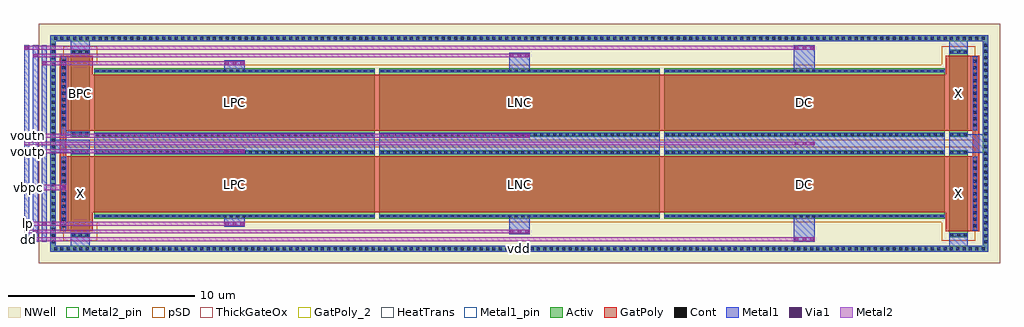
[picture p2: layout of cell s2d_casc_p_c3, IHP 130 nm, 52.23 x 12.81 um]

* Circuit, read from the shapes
.subckt s2d_casc_p_c3 dd ln lp vbpc vcmfb vdd voutn voutp
XM1 vdd vbpc vdd vdd sg13_hv_pmos w=1u l=4u m=3
XM2 vdd vbpc vbpc vdd sg13_hv_pmos w=1u l=4u
XM3 voutp vbpc lp vdd sg13_hv_pmos w=15u l=3u m=2
XM4 voutn vbpc ln vdd sg13_hv_pmos w=15u l=3u m=2
XM5 vcmfb vbpc dd vdd sg13_hv_pmos w=15u l=3u m=2
.ends

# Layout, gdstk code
from math import pi, radians
import gdstk
lib = gdstk.Library(unit=1e-6, precision=1e-09)
def R(c, l, rs):  # rectangles x0, y0, x1, y1
    for r in rs: c.add(gdstk.rectangle(r[:2], r[2:], *l))
def A(c, l, x, y, w, h, nx, ny, dx, dy):  # array of equal rectangles
    R(c, l, [(x+i*dx, y+j*dy, x+i*dx+w, y+j*dy+h) for i in range(nx) for j in range(ny)])
Activ = (1, 0)
GatPoly = (5, 0)
GatPoly_2 = (5, 2)
Cont = (6, 0)
Metal1 = (8, 0)
Metal1_pin = (8, 2)
Metal2 = (10, 0)
Metal2_pin = (10, 2)
pSD = (14, 0)
Via1 = (19, 0)
NWell = (31, 0)
ThickGateOx = (44, 0)
HeatTrans = (51, 0)

pmoshv_w1_l4 = lib.new_cell('pmosHV_w1_l4')
R(pmoshv_w1_l4, Activ, [(0,0,0.3,0.3), (0,0,4.68,1), (4.38,0,4.68,0.3)])
R(pmoshv_w1_l4, GatPoly, [(0.34,-0.18,4.34,1.18)])
R(pmoshv_w1_l4, GatPoly_2, [(0.34,-0.18,4.34,1.18)])
A(pmoshv_w1_l4, Cont, 0.07, 0.07, 0.16, 0.16, 1, 3, 0, 0.35)
A(pmoshv_w1_l4, Cont, 4.45, 0.07, 0.16, 0.16, 1, 3, 0, 0.35)
R(pmoshv_w1_l4, Metal1, [(0.07,0,0.23,1), (4.45,0,4.61,1)])
R(pmoshv_w1_l4, Metal1_pin, [(0.07,0,0.23,1), (4.45,0,4.61,1)])
R(pmoshv_w1_l4, pSD, [(-0.18,-0.4,4.86,1.4)])
R(pmoshv_w1_l4, NWell, [(-0.62,-0.62,5.3,1.62)])
R(pmoshv_w1_l4, ThickGateOx, [(-0.62,-0.62,5.3,1.62)])
R(pmoshv_w1_l4, HeatTrans, [(0.34,-0.18,4.34,1.18)])
pmoshv_w1_l4.add(gdstk.Label('pmosHV', (2.34,0.5), layer=63, texttype=0))
pmoshv_w1_l4.add(gdstk.Label('pmos', (2.34,0.5), layer=51, texttype=0))

pmoshv_w15_l3 = lib.new_cell('pmosHV_w15_l3')
R(pmoshv_w15_l3, Activ, [(0,0,0.3,0.3), (0,0,3.68,15), (3.38,0,3.68,0.3)])
R(pmoshv_w15_l3, GatPoly, [(0.34,-0.18,3.34,15.18)])
R(pmoshv_w15_l3, GatPoly_2, [(0.34,-0.18,3.34,15.18)])
A(pmoshv_w15_l3, Cont, 0.07, 0.07, 0.16, 0.16, 1, 3, 0, 0.34)
A(pmoshv_w15_l3, Cont, 3.45, 0.07, 0.16, 0.16, 1, 3, 0, 0.34)
A(pmoshv_w15_l3, Cont, 0.07, 1.095, 0.16, 0.16, 1, 3, 0, 0.34)
A(pmoshv_w15_l3, Cont, 3.45, 1.095, 0.16, 0.16, 1, 3, 0, 0.34)
A(pmoshv_w15_l3, Cont, 0.07, 2.12, 0.16, 0.16, 1, 3, 0, 0.34)
A(pmoshv_w15_l3, Cont, 3.45, 2.12, 0.16, 0.16, 1, 3, 0, 0.34)
A(pmoshv_w15_l3, Cont, 0.07, 3.83, 0.16, 0.16, 1, 3, 0, 0.34)
A(pmoshv_w15_l3, Cont, 3.45, 3.83, 0.16, 0.16, 1, 3, 0, 0.34)
A(pmoshv_w15_l3, Cont, 0.07, 4.855, 0.16, 0.16, 1, 3, 0, 0.34)
A(pmoshv_w15_l3, Cont, 3.45, 4.855, 0.16, 0.16, 1, 3, 0, 0.34)
A(pmoshv_w15_l3, Cont, 0.07, 6.565, 0.16, 0.16, 1, 3, 0, 0.34)
A(pmoshv_w15_l3, Cont, 3.45, 6.565, 0.16, 0.16, 1, 3, 0, 0.34)
A(pmoshv_w15_l3, Cont, 0.07, 7.59, 0.16, 0.16, 1, 3, 0, 0.34)
A(pmoshv_w15_l3, Cont, 3.45, 7.59, 0.16, 0.16, 1, 3, 0, 0.34)
A(pmoshv_w15_l3, Cont, 0.07, 9.3, 0.16, 0.16, 1, 3, 0, 0.34)
A(pmoshv_w15_l3, Cont, 3.45, 9.3, 0.16, 0.16, 1, 3, 0, 0.34)
A(pmoshv_w15_l3, Cont, 0.07, 10.325, 0.16, 0.16, 1, 3, 0, 0.34)
A(pmoshv_w15_l3, Cont, 3.45, 10.325, 0.16, 0.16, 1, 3, 0, 0.34)
A(pmoshv_w15_l3, Cont, 0.07, 12.035, 0.16, 0.16, 1, 3, 0, 0.34)
A(pmoshv_w15_l3, Cont, 3.45, 12.035, 0.16, 0.16, 1, 3, 0, 0.34)
A(pmoshv_w15_l3, Cont, 0.07, 13.06, 0.16, 0.16, 1, 3, 0, 0.34)
A(pmoshv_w15_l3, Cont, 3.45, 13.06, 0.16, 0.16, 1, 3, 0, 0.34)
R(pmoshv_w15_l3, Cont, [(0.07,3.145,0.23,3.305), (3.45,3.145,3.61,3.305), (0.07,3.485,0.23,3.645), (3.45,3.485,3.61,3.645), (0.07,5.88,0.23,6.04), (3.45,5.88,3.61,6.04), (0.07,6.22,0.23,6.38), (3.45,6.22,3.61,6.38), (0.07,8.615,0.23,8.775), (3.45,8.615,3.61,8.775), (0.07,8.955,0.23,9.115), (3.45,8.955,3.61,9.115), (0.07,11.35,0.23,11.51), (3.45,11.35,3.61,11.51), (0.07,11.69,0.23,11.85), (3.45,11.69,3.61,11.85), (0.07,14.085,0.23,14.245), (3.45,14.085,3.61,14.245), (0.07,14.425,0.23,14.585), (3.45,14.425,3.61,14.585), (0.07,14.77,0.23,14.93), (3.45,14.77,3.61,14.93)])
R(pmoshv_w15_l3, Metal1, [(0.07,0,0.23,15), (3.45,0,3.61,15)])
R(pmoshv_w15_l3, Metal1_pin, [(0.07,0,0.23,15), (3.45,0,3.61,15)])
R(pmoshv_w15_l3, pSD, [(-0.18,-0.4,3.86,15.4)])
R(pmoshv_w15_l3, NWell, [(-0.62,-0.62,4.3,15.62)])
R(pmoshv_w15_l3, ThickGateOx, [(-0.62,-0.62,4.3,15.62)])
R(pmoshv_w15_l3, HeatTrans, [(0.34,-0.18,3.34,15.18)])
pmoshv_w15_l3.add(gdstk.Label('pmosHV', (1.84,7.5), layer=63, texttype=0))
pmoshv_w15_l3.add(gdstk.Label('pmos', (1.84,7.5), layer=51, texttype=0))

s2d_casc_p_c3 = lib.new_cell('s2d_casc_p_c3')
R(s2d_casc_p_c3, Activ, [(1.41,0.62,51.61,0.92), (1.41,0.92,1.71,11.89), (51.31,0.92,51.61,11.89), (1.41,11.89,51.61,12.19)])
R(s2d_casc_p_c3, GatPoly, [(1.91,1.715,2.51,5.715), (50.51,1.715,51.11,5.715), (1.91,5.715,2.26,7.095), (50.76,5.715,51.11,7.095), (1.91,7.095,2.51,11.095), (50.51,7.095,51.11,11.095)])
A(s2d_casc_p_c3, Cont, 1.61, 0.69, 0.16, 0.16, 147, 2, 0.34, 11.27)
A(s2d_casc_p_c3, Cont, 1.48, 1.055, 0.16, 0.16, 1, 32, 0, 0.34)
A(s2d_casc_p_c3, Cont, 51.38, 1.055, 0.16, 0.16, 1, 32, 0, 0.34)
A(s2d_casc_p_c3, Cont, 2.05, 1.935, 0.16, 0.16, 1, 11, 0, 0.34)
A(s2d_casc_p_c3, Cont, 50.81, 1.935, 0.16, 0.16, 1, 11, 0, 0.34)
A(s2d_casc_p_c3, Cont, 2.05, 7.315, 0.16, 0.16, 1, 11, 0, 0.34)
A(s2d_casc_p_c3, Cont, 50.81, 7.315, 0.16, 0.16, 1, 11, 0, 0.34)
A(s2d_casc_p_c3, Metal1, 0, 1.14, 0.29, 10.53, 3, 1, 0.47, 0)
A(s2d_casc_p_c3, Metal1, 3.76, 5.825, 15, 1.16, 3, 1, 15.25, 0)
R(s2d_casc_p_c3, Metal1, [(1.41,0.62,51.61,0.92), (1.41,0.92,1.71,11.89), (2.51,0.92,3.51,1.605), (49.51,0.92,50.51,1.605), (51.31,0.92,51.61,11.89), (41.205,1.14,42.315,2.605), (25.955,1.55,27.065,2.605), (2,1.735,2.26,5.695), (50.76,1.735,51.02,5.695), (10.705,1.96,11.815,2.605), (2.51,5.825,3.51,6.605), (49.51,5.825,50.51,6.985), (1.71,5.915,3.51,6.605), (49.51,5.915,51.31,6.895), (2,6.825,3.51,7.045), (2,6.825,2.26,7.125), (2,7.115,2.26,11.075), (50.76,7.115,51.02,11.075), (10.705,10.205,11.815,10.85), (25.955,10.205,27.065,11.26), (41.205,10.205,42.315,11.67), (2.51,11.205,3.51,11.89), (49.51,11.205,50.51,11.89), (1.41,11.89,51.61,12.19)])
R(s2d_casc_p_c3, Metal1_pin, [(25.51,0.62,27.51,0.92)])
A(s2d_casc_p_c3, Metal2, 0, 1.185, 42.315, 0.2, 1, 3, 0, 5.12)
R(s2d_casc_p_c3, Metal2, [(0,1.185,0.145,1.385), (0,1.595,0.615,1.795), (0.47,1.595,27.065,1.795), (0,2.005,1.085,2.205), (0.94,2.005,11.815,2.205), (0,3.905,2.26,4.205), (0,5.895,11.815,6.095), (0,6.715,27.065,6.915), (0.94,10.605,11.815,10.805), (0.47,11.015,27.065,11.215)])
A(s2d_casc_p_c3, Metal2_pin, 0, 1.185, 0.5, 0.2, 1, 3, 0, 0.41)
A(s2d_casc_p_c3, Metal2_pin, 0, 5.895, 0.5, 0.2, 1, 3, 0, 0.41)
R(s2d_casc_p_c3, Metal2_pin, [(0,3.905,0.5,4.205)])
A(s2d_casc_p_c3, Via1, 41.255, 1.19, 0.19, 0.19, 3, 3, 0.41, 5.12)
A(s2d_casc_p_c3, Via1, 26.005, 1.6, 0.19, 0.19, 3, 2, 0.41, 5.12)
A(s2d_casc_p_c3, Via1, 10.755, 2.01, 0.19, 0.19, 3, 2, 0.41, 3.89)
A(s2d_casc_p_c3, Via1, 10.755, 10.61, 0.19, 0.19, 3, 1, 0.41, 0)
A(s2d_casc_p_c3, Via1, 26.005, 11.02, 0.19, 0.19, 3, 1, 0.41, 0)
R(s2d_casc_p_c3, Via1, [(0.05,1.19,0.24,1.38), (0.52,1.6,0.71,1.79), (0.99,2.01,1.18,2.2), (2.035,3.96,2.225,4.15), (0.99,10.61,1.18,10.8), (0.52,11.02,0.71,11.21), (0.05,11.43,0.24,11.62)])
R(s2d_casc_p_c3, NWell, [(0.79,0,52.23,12.81)])
R(s2d_casc_p_c3, ThickGateOx, [(0.79,0,52.23,12.81)])
s2d_casc_p_c3.add(gdstk.Reference(pmoshv_w1_l4, (3.51,1.375), rotation=pi/2))
s2d_casc_p_c3.add(gdstk.Reference(pmoshv_w15_l3, (18.76,2.375), rotation=pi/2))
s2d_casc_p_c3.add(gdstk.Reference(pmoshv_w15_l3, (34.01,2.375), rotation=pi/2))
s2d_casc_p_c3.add(gdstk.Reference(pmoshv_w15_l3, (34.26,2.375), rotation=pi/2, x_reflection=True))
s2d_casc_p_c3.add(gdstk.Reference(pmoshv_w1_l4, (49.51,1.375), rotation=pi/2, x_reflection=True))
s2d_casc_p_c3.add(gdstk.Reference(pmoshv_w1_l4, (3.51,11.435), rotation=3*pi/2, x_reflection=True))
s2d_casc_p_c3.add(gdstk.Reference(pmoshv_w15_l3, (18.76,10.435), rotation=3*pi/2, x_reflection=True))
s2d_casc_p_c3.add(gdstk.Reference(pmoshv_w15_l3, (34.01,10.435), rotation=3*pi/2, x_reflection=True))
s2d_casc_p_c3.add(gdstk.Reference(pmoshv_w15_l3, (34.26,10.435), rotation=3*pi/2))
s2d_casc_p_c3.add(gdstk.Reference(pmoshv_w1_l4, (49.51,11.435), rotation=3*pi/2))
s2d_casc_p_c3.add(gdstk.Label('vdd', (26.51,0.77), layer=8, texttype=25))
s2d_casc_p_c3.add(gdstk.Label('voutp', (0.25,5.995), layer=10, texttype=25))
s2d_casc_p_c3.add(gdstk.Label('voutn', (0.25,6.815), layer=10, texttype=25))
s2d_casc_p_c3.add(gdstk.Label('vcmfb', (0.25,6.405), layer=10, texttype=25))
s2d_casc_p_c3.add(gdstk.Label('lp', (0.25,2.105), layer=10, texttype=25))
s2d_casc_p_c3.add(gdstk.Label('ln', (0.25,1.695), layer=10, texttype=25))
s2d_casc_p_c3.add(gdstk.Label('dd', (0.25,1.285), layer=10, texttype=25))
s2d_casc_p_c3.add(gdstk.Label('vbpc', (0.25,4.055), layer=10, texttype=25))
s2d_casc_p_c3.add(gdstk.Label('X', (3.01,3.715), layer=63, texttype=0))
s2d_casc_p_c3.add(gdstk.Label('LPC', (11.26,4.215), layer=63, texttype=0))
s2d_casc_p_c3.add(gdstk.Label('LNC', (26.51,4.215), layer=63, texttype=0))
s2d_casc_p_c3.add(gdstk.Label('DC', (41.76,4.215), layer=63, texttype=0))
s2d_casc_p_c3.add(gdstk.Label('X', (50.01,3.715), layer=63, texttype=0))
s2d_casc_p_c3.add(gdstk.Label('BPC', (3.01,9.095), layer=63, texttype=0))
s2d_casc_p_c3.add(gdstk.Label('LPC', (11.26,8.595), layer=63, texttype=0))
s2d_casc_p_c3.add(gdstk.Label('LNC', (26.51,8.595), layer=63, texttype=0))
s2d_casc_p_c3.add(gdstk.Label('DC', (41.76,8.595), layer=63, texttype=0))
s2d_casc_p_c3.add(gdstk.Label('X', (50.01,9.095), layer=63, texttype=0))

lib.write_gds('s2d_casc_p_c3.gds')
